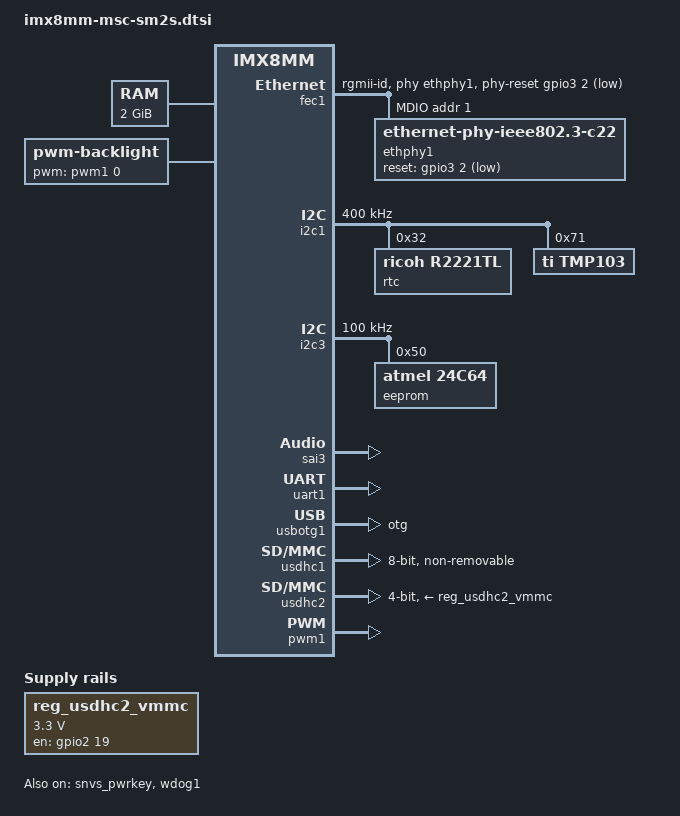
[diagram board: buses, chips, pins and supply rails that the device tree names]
// SPDX-License-Identifier: (GPL-2.0+ OR MIT)
/*
 * Copyright 2024 Amarula Solutions B.V.
 * Copyright 2024 Avnet Silica Gmbh
 */

/dts-v1/;

#include <dt-bindings/net/ti-dp83867.h>
#include <dt-bindings/phy/phy-imx8-pcie.h>
#include <dt-bindings/usb/pd.h>
#include "imx8mm.dtsi"

/ {
	aliases {
		mmc0 = &usdhc1;
		mmc1 = &usdhc2;
		ethernet0 = &fec1;
	};

	chosen {
		stdout-path = &uart1;
	};

	memory@40000000 {
		device_type = "memory";
		reg = <0x0 0x40000000 0 0x80000000>;
	};

	reg_usdhc2_vmmc: regulator-usdhc2 {
		compatible = "regulator-fixed";
		regulator-name = "VSD_3V3";
		regulator-min-microvolt = <3300000>;
		regulator-max-microvolt = <3300000>;
		gpio = <&gpio2 19 GPIO_ACTIVE_HIGH>;
		enable-active-high;
	};

	backlight: backlight {
		compatible = "pwm-backlight";
		pwms = <&pwm1 0 5000000 0>;
		brightness-levels = <0 255>;
		num-interpolated-steps = <255>;
		default-brightness-level = <250>;
	};
};

&fec1 {
	pinctrl-names = "default";
	pinctrl-0 = <&pinctrl_fec1>;
	phy-mode = "rgmii-id";
	phy-handle = <&ethphy1>;
	phy-reset-gpios = <&gpio3 2 GPIO_ACTIVE_LOW>;
	local-mac-address = [00 00 00 00 00 00];
	status = "okay";

	mdio {
		#address-cells = <1>;
		#size-cells = <0>;

		ethphy1: ethernet-phy@1 {
			compatible = "ethernet-phy-ieee802.3-c22";
			reg = <1>;
			ti,rx-internal-delay = <DP83867_RGMIIDCTL_2_25_NS>;
			ti,tx-internal-delay = <DP83867_RGMIIDCTL_2_75_NS>;
			ti,fifo-depth = <DP83867_PHYCR_FIFO_DEPTH_4_B_NIB>;
			reset-gpios = <&gpio3 2 GPIO_ACTIVE_LOW>;
			reset-assert-us = <10>;
			reset-deassert-us = <280>;
		};
	};
};

&i2c1 {
	clock-frequency = <400000>;
	pinctrl-names = "default";
	pinctrl-0 = <&pinctrl_i2c1>;
	status = "okay";

	rtc@32 {
		compatible = "ricoh,r2221tl";
		pinctrl-names = "default";
		pinctrl-0 = <&pinctrl_rtc>;
		reg = <0x32>;
	};

	tmp103@71 {
		compatible = "ti,tmp103";
		reg = <0x71>;
	};
};

&i2c3 {
	clock-frequency = <100000>;
	pinctrl-names = "default";
	pinctrl-0 = <&pinctrl_i2c3>;
	status = "okay";

	eeprom@50 {
		compatible = "atmel,24c64";
		reg = <0x50>;
	};
};

&sai3 {
	pinctrl-names = "default";
	pinctrl-0 = <&pinctrl_sai3>;
	assigned-clocks = <&clk IMX8MM_CLK_SAI3>;
	assigned-clock-parents = <&clk IMX8MM_AUDIO_PLL1_OUT>;
	assigned-clock-rates = <24576000>;
	status = "okay";
};

&snvs_pwrkey {
	status = "okay";
};

&uart1 { /* console */
	pinctrl-names = "default";
	pinctrl-0 = <&pinctrl_uart1>;
	uart-has-rtscts;
	status = "okay";
};

&usbotg1 {
	dr_mode = "otg";
	hnp-disable;
	srp-disable;
	adp-disable;
	usb-role-switch;
	disable-over-current;
	samsung,picophy-pre-emp-curr-control = <3>;
	samsung,picophy-dc-vol-level-adjust = <7>;
	status = "okay";
};

/* Module eMMC */
&usdhc1 {
	pinctrl-names = "default", "state_100mhz", "state_200mhz";
	pinctrl-0 = <&pinctrl_usdhc1>, <&pinctrl_usdhc1_gpio>;
	pinctrl-1 = <&pinctrl_usdhc1_100mhz>, <&pinctrl_usdhc1_gpio>;
	pinctrl-2 = <&pinctrl_usdhc1_200mhz>, <&pinctrl_usdhc1_gpio>;
	bus-width = <8>;
	non-removable;
	status = "okay";
};

/* Baseboard sd */
&usdhc2 {
	pinctrl-names = "default", "state_100mhz", "state_200mhz";
	pinctrl-0 = <&pinctrl_usdhc2>, <&pinctrl_usdhc2_gpio>;
	pinctrl-1 = <&pinctrl_usdhc2_100mhz>, <&pinctrl_usdhc2_gpio>;
	pinctrl-2 = <&pinctrl_usdhc2_200mhz>, <&pinctrl_usdhc2_gpio>;
	bus-width = <4>;
	vmmc-supply = <&reg_usdhc2_vmmc>;
	status = "okay";
};

&wdog1 {
	pinctrl-names = "default";
	pinctrl-0 = <&pinctrl_wdog>;
	fsl,ext-reset-output;
	status = "okay";
};

&pwm1 {
	pinctrl-names = "default";
	pinctrl-0 = <&pinctrl_backlight>;
	status = "okay";
};

&iomuxc {
	pinctrl_fec1: fec1grp {
		fsl,pins = <
			MX8MM_IOMUXC_ENET_MDC_ENET1_MDC			0x3
			MX8MM_IOMUXC_ENET_MDIO_ENET1_MDIO		0x3
			MX8MM_IOMUXC_ENET_TD3_ENET1_RGMII_TD3		0x1f
			MX8MM_IOMUXC_ENET_TD2_ENET1_RGMII_TD2		0x1f
			MX8MM_IOMUXC_ENET_TD1_ENET1_RGMII_TD1		0x1f
			MX8MM_IOMUXC_ENET_TD0_ENET1_RGMII_TD0		0x1f
			MX8MM_IOMUXC_ENET_RD3_ENET1_RGMII_RD3		0x91
			MX8MM_IOMUXC_ENET_RD2_ENET1_RGMII_RD2		0x91
			MX8MM_IOMUXC_ENET_RD1_ENET1_RGMII_RD1		0x91
			MX8MM_IOMUXC_ENET_RD0_ENET1_RGMII_RD0		0x91
			MX8MM_IOMUXC_ENET_TXC_ENET1_RGMII_TXC		0x1f
			MX8MM_IOMUXC_ENET_RXC_ENET1_RGMII_RXC		0x91
			MX8MM_IOMUXC_ENET_RX_CTL_ENET1_RGMII_RX_CTL	0x91
			MX8MM_IOMUXC_ENET_TX_CTL_ENET1_RGMII_TX_CTL	0x1f
			MX8MM_IOMUXC_SAI2_RXC_GPIO4_IO22		0x19
			MX8MM_IOMUXC_NAND_CE1_B_GPIO3_IO2		0x19
			MX8MM_IOMUXC_NAND_CE2_B_GPIO3_IO3		0x19
			MX8MM_IOMUXC_GPIO1_IO08_ENET1_1588_EVENT0_IN	0x19
		>;
	};

	pinctrl_i2c1: i2c1grp {
		fsl,pins = <
			MX8MM_IOMUXC_I2C1_SCL_I2C1_SCL			0x400001c3
			MX8MM_IOMUXC_I2C1_SDA_I2C1_SDA			0x400001c3
		>;
	};

	pinctrl_i2c2: i2c2grp {
		fsl,pins = <
			MX8MM_IOMUXC_I2C2_SCL_I2C2_SCL			0x400001c3
			MX8MM_IOMUXC_I2C2_SDA_I2C2_SDA			0x400001c3
		>;
	};

	pinctrl_i2c3: i2c3grp {
		fsl,pins = <
			MX8MM_IOMUXC_I2C3_SCL_I2C3_SCL			0x400001c3
			MX8MM_IOMUXC_I2C3_SDA_I2C3_SDA			0x400001c3
		>;
	};

	pinctrl_rtc: rtcgrp {
		fsl,pins = <
			MX8MM_IOMUXC_SAI1_RXC_GPIO4_IO1                 0x40000019
		>;
	};

	pinctrl_sai3: sai3grp {
		fsl,pins = <
			MX8MM_IOMUXC_SAI3_TXFS_SAI3_TX_SYNC     0xd6
			MX8MM_IOMUXC_SAI3_TXC_SAI3_TX_BCLK      0xd6
			MX8MM_IOMUXC_SAI3_MCLK_SAI3_MCLK        0xd6
			MX8MM_IOMUXC_SAI3_TXD_SAI3_TX_DATA0     0xd6
		>;
	};

	pinctrl_uart1: uart1grp {
		fsl,pins = <
			MX8MM_IOMUXC_UART1_RXD_UART1_DCE_RX             0x49
			MX8MM_IOMUXC_UART1_TXD_UART1_DCE_TX             0x49
			MX8MM_IOMUXC_SAI2_RXD0_UART1_DCE_RTS_B          0x49
			MX8MM_IOMUXC_SAI2_TXFS_UART1_DCE_CTS_B          0x49
		>;
	};

	pinctrl_uart2: uart2grp {
		fsl,pins = <
			MX8MM_IOMUXC_UART2_RXD_UART2_DCE_RX	0x140
			MX8MM_IOMUXC_UART2_TXD_UART2_DCE_TX	0x140
		>;
	};

	pinctrl_usdhc1_gpio: usdhc1grpgpiogrp {
		fsl,pins = <
			MX8MM_IOMUXC_SD1_RESET_B_USDHC1_RESET_B	0x1c4
		>;
	};

	pinctrl_usdhc1: usdhc1grp {
		fsl,pins = <
			MX8MM_IOMUXC_SD1_CLK_USDHC1_CLK		0x190
			MX8MM_IOMUXC_SD1_CMD_USDHC1_CMD		0x1d0
			MX8MM_IOMUXC_SD1_DATA0_USDHC1_DATA0	0x1d0
			MX8MM_IOMUXC_SD1_DATA1_USDHC1_DATA1	0x1d0
			MX8MM_IOMUXC_SD1_DATA2_USDHC1_DATA2	0x1d0
			MX8MM_IOMUXC_SD1_DATA3_USDHC1_DATA3	0x1d0
			MX8MM_IOMUXC_SD1_DATA4_USDHC1_DATA4	0x1d0
			MX8MM_IOMUXC_SD1_DATA5_USDHC1_DATA5	0x1d0
			MX8MM_IOMUXC_SD1_DATA6_USDHC1_DATA6	0x1d0
			MX8MM_IOMUXC_SD1_DATA7_USDHC1_DATA7	0x1d0
			MX8MM_IOMUXC_SD1_STROBE_USDHC1_STROBE	0x1d0
		>;
	};

	pinctrl_usdhc1_100mhz: usdhc1-100mhzgrp {
		fsl,pins = <
			MX8MM_IOMUXC_SD1_CLK_USDHC1_CLK		0x194
			MX8MM_IOMUXC_SD1_CMD_USDHC1_CMD		0x1d4
			MX8MM_IOMUXC_SD1_DATA0_USDHC1_DATA0	0x1d4
			MX8MM_IOMUXC_SD1_DATA1_USDHC1_DATA1	0x1d4
			MX8MM_IOMUXC_SD1_DATA2_USDHC1_DATA2	0x1d4
			MX8MM_IOMUXC_SD1_DATA3_USDHC1_DATA3	0x1d4
			MX8MM_IOMUXC_SD1_DATA4_USDHC1_DATA4	0x1d4
			MX8MM_IOMUXC_SD1_DATA5_USDHC1_DATA5	0x1d4
			MX8MM_IOMUXC_SD1_DATA6_USDHC1_DATA6	0x1d4
			MX8MM_IOMUXC_SD1_DATA7_USDHC1_DATA7	0x1d4
			MX8MM_IOMUXC_SD1_STROBE_USDHC1_STROBE	0x194
		>;
	};

	pinctrl_usdhc1_200mhz: usdhc1-200mhzgrp {
		fsl,pins = <
			MX8MM_IOMUXC_SD1_CLK_USDHC1_CLK		0x196
			MX8MM_IOMUXC_SD1_CMD_USDHC1_CMD		0x1d6
			MX8MM_IOMUXC_SD1_DATA0_USDHC1_DATA0	0x1d6
			MX8MM_IOMUXC_SD1_DATA1_USDHC1_DATA1	0x1d6
			MX8MM_IOMUXC_SD1_DATA2_USDHC1_DATA2	0x1d6
			MX8MM_IOMUXC_SD1_DATA3_USDHC1_DATA3	0x1d6
			MX8MM_IOMUXC_SD1_DATA4_USDHC1_DATA4	0x1d6
			MX8MM_IOMUXC_SD1_DATA5_USDHC1_DATA5	0x1d6
			MX8MM_IOMUXC_SD1_DATA6_USDHC1_DATA6	0x1d6
			MX8MM_IOMUXC_SD1_DATA7_USDHC1_DATA7	0x1d6
			MX8MM_IOMUXC_SD1_STROBE_USDHC1_STROBE	0x196
		>;
	};

	pinctrl_usdhc2_gpio: usdhc2grpgpiogrp {
		fsl,pins = <
			MX8MM_IOMUXC_SD2_CD_B_USDHC2_CD_B	0x41
			MX8MM_IOMUXC_SD2_RESET_B_GPIO2_IO19	0x41
		>;
	};

	pinctrl_usdhc2: usdhc2grp {
		fsl,pins = <
			MX8MM_IOMUXC_SD2_CLK_USDHC2_CLK		0x190
			MX8MM_IOMUXC_SD2_CMD_USDHC2_CMD		0x1d0
			MX8MM_IOMUXC_SD2_DATA0_USDHC2_DATA0	0x1d0
			MX8MM_IOMUXC_SD2_DATA1_USDHC2_DATA1	0x1d0
			MX8MM_IOMUXC_SD2_DATA2_USDHC2_DATA2	0x1d0
			MX8MM_IOMUXC_SD2_DATA3_USDHC2_DATA3	0x1d0
			MX8MM_IOMUXC_GPIO1_IO04_USDHC2_VSELECT	0x1d0
		>;
	};

	pinctrl_usdhc2_100mhz: usdhc2-100mhzgrp {
		fsl,pins = <
			MX8MM_IOMUXC_SD2_CLK_USDHC2_CLK		0x194
			MX8MM_IOMUXC_SD2_CMD_USDHC2_CMD		0x1d4
			MX8MM_IOMUXC_SD2_DATA0_USDHC2_DATA0	0x1d4
			MX8MM_IOMUXC_SD2_DATA1_USDHC2_DATA1	0x1d4
			MX8MM_IOMUXC_SD2_DATA2_USDHC2_DATA2	0x1d4
			MX8MM_IOMUXC_SD2_DATA3_USDHC2_DATA3	0x1d4
			MX8MM_IOMUXC_GPIO1_IO04_USDHC2_VSELECT	0x1d0
		>;
	};

	pinctrl_usdhc2_200mhz: usdhc2-200mhzgrp {
		fsl,pins = <
			MX8MM_IOMUXC_SD2_CLK_USDHC2_CLK		0x196
			MX8MM_IOMUXC_SD2_CMD_USDHC2_CMD		0x1d6
			MX8MM_IOMUXC_SD2_DATA0_USDHC2_DATA0	0x1d6
			MX8MM_IOMUXC_SD2_DATA1_USDHC2_DATA1	0x1d6
			MX8MM_IOMUXC_SD2_DATA2_USDHC2_DATA2	0x1d6
			MX8MM_IOMUXC_SD2_DATA3_USDHC2_DATA3	0x1d6
			MX8MM_IOMUXC_GPIO1_IO04_USDHC2_VSELECT	0x1d0
		>;
	};

	pinctrl_wdog: wdoggrp {
		fsl,pins = <
			MX8MM_IOMUXC_GPIO1_IO02_WDOG1_WDOG_B	0x166
		>;
	};

	pinctrl_backlight: backlightgrp {
		fsl,pins = <
			MX8MM_IOMUXC_GPIO1_IO01_PWM1_OUT	0x06
		>;
	};
};
